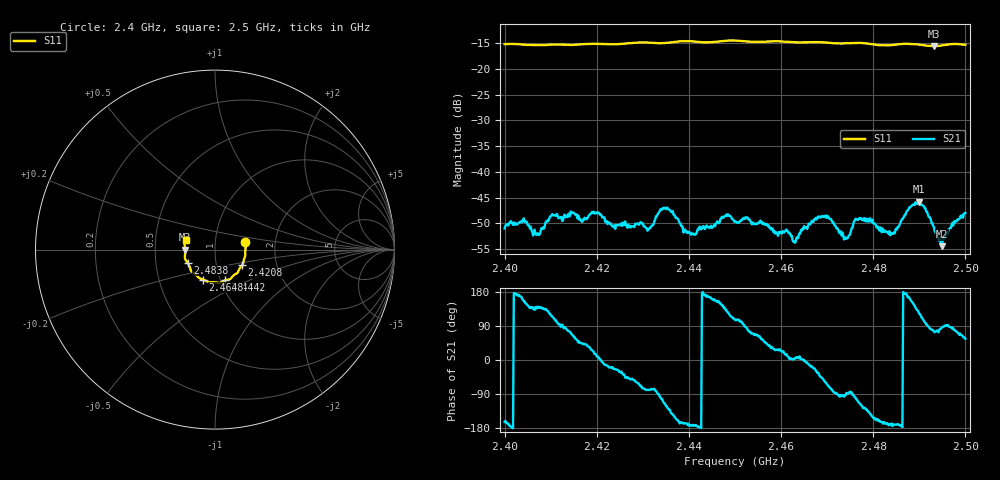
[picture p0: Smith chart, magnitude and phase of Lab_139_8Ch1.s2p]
# Hz S RI R 50
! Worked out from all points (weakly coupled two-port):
!   601 points, 2.4 GHz to 2.5 GHz, reference 50 ohm
!   highest |S21| = -45.80 dB at 2.49 GHz (marker M1); lowest = -54.4 dB at 2.4948 GHz (marker M2)
!   lowest |S11| = -15.6 dB at 2.4932 GHz (marker M3), VSWR 1.40, Z = 35.8 - j0.0879 ohm
!   |S11| at or under -10 dB: start of sweep to end of sweep
!   S12 and S22 are empty: the file has one direction only
!   S11 on the Smith chart (normalised r, x): 2.4 GHz: 1.40, +0.12; 2.4208 GHz: 1.33, -0.24; 2.4442 GHz: 1.05, -0.37; 2.4648 GHz: 0.83, -0.29; 2.4838 GHz: 0.73, -0.11; 2.5 GHz: 0.72, +0.08
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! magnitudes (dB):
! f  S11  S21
! 2.4 GHz  -15.3  -51.0
! 2.4072 GHz  -15.4  -51.9
! 2.4167 GHz  -15.2  -49.5
! 2.4208 GHz  -15.2  -48.2
! 2.4312 GHz  -14.9  -51.3
! 2.4333 GHz  -15.0  -48.1
! 2.4357 GHz  -14.9  -47.3
! 2.4407 GHz  -14.7  -52.1
! 2.4442 GHz  -14.9  -50.8
! 2.45 GHz  -14.5  -49.6
! 2.463 GHz  -14.9  -53.8
! 2.4648 GHz  -14.9  -51.2
! 2.4667 GHz  -14.8  -49.5
! 2.4703 GHz  -15.0  -48.8
! 2.474 GHz  -15.1  -52.7
! 2.4768 GHz  -15.0  -49.2
! 2.4833 GHz  -15.5  -52.0
! 2.4838 GHz  -15.4  -52.1
! 2.49 GHz  -15.3  -45.8
! 2.4932 GHz  -15.6  -50.7
! 2.4948 GHz  -15.5  -54.4
! 2.5 GHz  -15.4  -48.0
